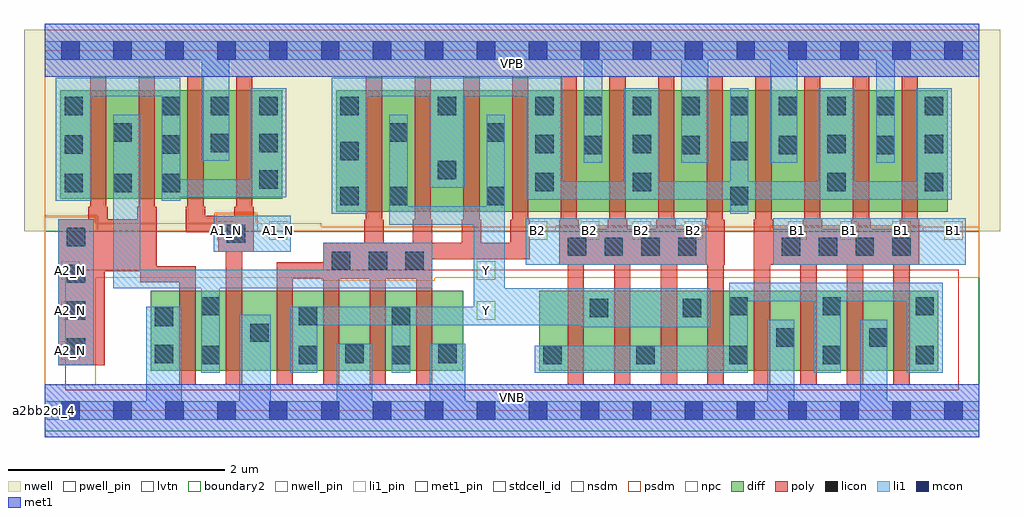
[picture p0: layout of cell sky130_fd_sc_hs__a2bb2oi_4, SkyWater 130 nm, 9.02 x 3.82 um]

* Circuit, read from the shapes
.subckt sky130_fd_sc_hs__a2bb2oi_4 A1_N A2_N B1 B2 VGND VNB VPB VPWR Y
XM1 n1 A2_N VGND VNB sky130_fd_pr__nfet_01v8_lvt w=0.74 l=0.15
XM2 VGND A1_N n1 VNB sky130_fd_pr__nfet_01v8_lvt w=0.74 l=0.15
XM3 Y n1 VGND VNB sky130_fd_pr__nfet_01v8_lvt w=0.74 l=0.15 m=4
XM4 Y B2 n2 VNB sky130_fd_pr__nfet_01v8_lvt w=0.74 l=0.15 m=4
XM5 VGND B1 n2 VNB sky130_fd_pr__nfet_01v8_lvt w=0.74 l=0.15 m=4
XM6 n1 A2_N n3 VPB sky130_fd_pr__pfet_01v8 w=1 l=0.15 m=2
XM7 VPWR A1_N n3 VPB sky130_fd_pr__pfet_01v8 w=1 l=0.15 m=2
XM8 Y n1 n4 VPB sky130_fd_pr__pfet_01v8 w=1.12 l=0.15 m=4
XM9 VPWR B2 n4 VPB sky130_fd_pr__pfet_01v8 w=1.12 l=0.15 m=4
XM10 VPWR B1 n4 VPB sky130_fd_pr__pfet_01v8 w=1.12 l=0.15 m=4
.ends

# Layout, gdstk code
import gdstk
lib = gdstk.Library(unit=1e-6, precision=1e-09)
def R(c, l, rs):  # rectangles x0, y0, x1, y1
    for r in rs: c.add(gdstk.rectangle(r[:2], r[2:], *l))
def A(c, l, x, y, w, h, nx, ny, dx, dy):  # array of equal rectangles
    R(c, l, [(x+i*dx, y+j*dy, x+i*dx+w, y+j*dy+h) for i in range(nx) for j in range(ny)])
def P(c, l, *ps):  # polygons
    for p in ps: c.add(gdstk.Polygon(p, *l))
nwell_pin = (64, 16)
nwell = (64, 20)
diff = (65, 20)
poly = (66, 20)
licon = (66, 44)
li1_pin = (67, 16)
li1 = (67, 20)
mcon = (67, 44)
met1_pin = (68, 16)
met1 = (68, 20)
stdcell_id = (81, 4)
nsdm = (93, 44)
psdm = (94, 20)
npc = (95, 20)
pwell_pin = (122, 16)
lvtn = (125, 44)
boundary2 = (236, 0)

sky130_fd_sc_hs__a2bb2oi = lib.new_cell('sky130_fd_sc_hs__a2bb2oi_4')
R(sky130_fd_sc_hs__a2bb2oi, nwell_pin, [(0,3.085,8.64,3.33)])
R(sky130_fd_sc_hs__a2bb2oi, nwell, [(-0.19,1.66,8.83,3.52)])
R(sky130_fd_sc_hs__a2bb2oi, diff, [(0.98,0.37,3.87,1.11), (4.57,0.37,8.26,1.11), (2.695,1.84,8.345,2.96), (0.145,1.96,2.195,2.96)])
P(sky130_fd_sc_hs__a2bb2oi, poly, [(1.395,1.335),(1.035,1.335),(1.035,1.885),(1.02,1.885),(1.02,3.09),(0.87,3.09),(0.87,1.885),(0.855,1.885),(0.855,1.77),(0.585,1.77),(0.585,1.885),(0.57,1.885),(0.57,3.09),(0.42,3.09),(0.42,1.885),(0.405,1.885),(0.405,1.77),(0.125,1.77),(0.125,0.42),(0.555,0.42),(0.555,1.29),(0.885,1.29),(0.885,1.185),(1.245,1.185),(1.245,0.24),(1.395,0.24)],
  [(1.935,1.885),(1.92,1.885),(1.92,3.09),(1.77,3.09),(1.77,1.885),(1.755,1.885),(1.755,1.8),(1.485,1.8),(1.485,1.885),(1.47,1.885),(1.47,3.09),(1.32,3.09),(1.32,1.885),(1.305,1.885),(1.305,1.65),(1.605,1.65),(1.605,1.47),(1.675,1.47),(1.675,0.24),(1.825,0.24),(1.825,1.47),(1.935,1.47)],
  [(4.485,1.765),(4.47,1.765),(4.47,3.09),(4.32,3.09),(4.32,1.765),(4.305,1.765),(4.305,1.55),(4.035,1.55),(4.035,1.765),(4.02,1.765),(4.02,3.09),(3.87,3.09),(3.87,1.765),(3.855,1.765),(3.855,1.55),(3.585,1.55),(3.585,1.765),(3.57,1.765),(3.57,3.09),(3.42,3.09),(3.42,1.765),(3.405,1.765),(3.405,1.55),(3.135,1.55),(3.135,1.765),(3.12,1.765),(3.12,3.09),(2.97,3.09),(2.97,1.765),(2.955,1.765),(2.955,1.55),(2.575,1.55),(2.575,1.37),(2.145,1.37),(2.145,0.24),(2.295,0.24),(2.295,1.22),(2.575,1.22),(2.575,0.24),(2.725,0.24),(2.725,1.22),(3.005,1.22),(3.005,0.24),(3.155,0.24),(3.155,1.22),(3.435,1.22),(3.435,0.24),(3.585,0.24),(3.585,1.4),(4.485,1.4)],
  [(6.285,1.765),(6.27,1.765),(6.27,3.09),(6.12,3.09),(6.12,1.765),(6.105,1.765),(6.105,1.68),(5.835,1.68),(5.835,1.765),(5.82,1.765),(5.82,3.09),(5.67,3.09),(5.67,1.765),(5.655,1.765),(5.655,1.68),(5.385,1.68),(5.385,1.765),(5.37,1.765),(5.37,3.09),(5.22,3.09),(5.22,1.765),(5.205,1.765),(5.205,1.68),(4.935,1.68),(4.935,1.765),(4.92,1.765),(4.92,3.09),(4.77,3.09),(4.77,1.765),(4.755,1.765),(4.755,1.35),(4.835,1.35),(4.835,0.24),(4.985,0.24),(4.985,1.35),(5.265,1.35),(5.265,0.24),(5.415,0.24),(5.415,1.35),(5.695,1.35),(5.695,0.24),(5.845,0.24),(5.845,1.35),(6.125,1.35),(6.125,0.24),(6.275,0.24),(6.275,1.35),(6.285,1.35)],
  [(8.085,1.765),(8.07,1.765),(8.07,3.09),(7.92,3.09),(7.92,1.765),(7.905,1.765),(7.905,1.68),(7.635,1.68),(7.635,1.765),(7.62,1.765),(7.62,3.09),(7.47,3.09),(7.47,1.765),(7.455,1.765),(7.455,1.68),(7.185,1.68),(7.185,1.765),(7.17,1.765),(7.17,3.09),(7.02,3.09),(7.02,1.765),(7.005,1.765),(7.005,1.68),(6.735,1.68),(6.735,1.765),(6.72,1.765),(6.72,3.09),(6.57,3.09),(6.57,1.765),(6.555,1.765),(6.555,0.24),(6.705,0.24),(6.705,1.35),(6.985,1.35),(6.985,0.24),(7.135,0.24),(7.135,1.35),(7.415,1.35),(7.415,0.24),(7.565,0.24),(7.565,1.35),(7.845,1.35),(7.845,0.24),(7.995,0.24),(7.995,1.35),(8.085,1.35)])
A(sky130_fd_sc_hs__a2bb2oi, licon, 4.61, 0.43, 0.17, 0.17, 5, 1, 0.86, 0)
A(sky130_fd_sc_hs__a2bb2oi, licon, 0.205, 0.5, 0.17, 0.17, 1, 4, 0, 0.34)
A(sky130_fd_sc_hs__a2bb2oi, licon, 6.33, 0.88, 0.17, 0.17, 3, 1, 0.86, 0)
A(sky130_fd_sc_hs__a2bb2oi, licon, 2.655, 1.3, 0.17, 0.17, 3, 1, 0.34, 0)
A(sky130_fd_sc_hs__a2bb2oi, licon, 4.835, 1.43, 0.17, 0.17, 4, 1, 0.34, 0)
A(sky130_fd_sc_hs__a2bb2oi, licon, 6.815, 1.43, 0.17, 0.17, 4, 1, 0.34, 0)
A(sky130_fd_sc_hs__a2bb2oi, licon, 0.185, 2.02, 0.17, 0.17, 3, 1, 0.45, 0)
A(sky130_fd_sc_hs__a2bb2oi, licon, 4.985, 2.37, 0.17, 0.17, 4, 1, 0.9, 0)
A(sky130_fd_sc_hs__a2bb2oi, licon, 1.085, 2.73, 0.17, 0.17, 3, 1, 0.45, 0)
A(sky130_fd_sc_hs__a2bb2oi, licon, 2.735, 2.73, 0.17, 0.17, 3, 1, 0.9, 0)
A(sky130_fd_sc_hs__a2bb2oi, licon, 4.985, 2.73, 0.17, 0.17, 8, 1, 0.45, 0)
R(sky130_fd_sc_hs__a2bb2oi, licon, [(1.45,0.43,1.62,0.6), (2.35,0.43,2.52,0.6), (3.21,0.43,3.38,0.6), (1.02,0.44,1.19,0.61), (2.78,0.44,2.95,0.61), (3.64,0.44,3.81,0.61), (6.76,0.59,6.93,0.76), (7.62,0.59,7.79,0.76), (1.9,0.635,2.07,0.805), (1.02,0.78,1.19,0.95), (2.35,0.79,2.52,0.96), (3.21,0.79,3.38,0.96), (5.04,0.865,5.21,1.035), (5.9,0.865,6.07,1.035), (1.45,0.88,1.62,1.05), (1.685,1.55,1.855,1.72), (2.735,1.9,2.905,2.07), (3.185,1.9,3.355,2.07), (4.085,1.9,4.255,2.07), (6.335,1.9,6.505,2.07), (4.535,2.03,4.705,2.2), (5.435,2.03,5.605,2.2), (7.235,2.03,7.405,2.2), (8.135,2.03,8.305,2.2), (1.985,2.05,2.155,2.22), (3.635,2.14,3.805,2.31), (2.735,2.315,2.905,2.485), (6.335,2.315,6.505,2.485), (0.185,2.375,0.355,2.545), (1.085,2.375,1.255,2.545), (4.535,2.38,4.705,2.55), (5.435,2.38,5.605,2.55), (7.235,2.38,7.405,2.55), (8.135,2.38,8.305,2.55), (1.535,2.39,1.705,2.56), (1.985,2.39,2.155,2.56), (0.635,2.485,0.805,2.655), (3.185,2.485,3.355,2.655), (4.085,2.485,4.255,2.655), (0.185,2.73,0.355,2.9)])
A(sky130_fd_sc_hs__a2bb2oi, li1_pin, 0.155, 0.47, 0.17, 0.17, 1, 3, 0, 0.37)
A(sky130_fd_sc_hs__a2bb2oi, li1_pin, 4.475, 1.58, 0.17, 0.17, 4, 1, 0.48, 0)
A(sky130_fd_sc_hs__a2bb2oi, li1_pin, 6.875, 1.58, 0.17, 0.17, 4, 1, 0.48, 0)
R(sky130_fd_sc_hs__a2bb2oi, li1_pin, [(3.995,0.84,4.165,1.01), (3.995,1.21,4.165,1.38), (1.595,1.58,1.765,1.75), (2.075,1.58,2.245,1.75)])
R(sky130_fd_sc_hs__a2bb2oi, li1, [(0.125,0.42,0.455,1.77), (4.445,1.35,6.115,1.78), (6.735,1.35,8.515,1.78), (1.565,1.47,2.275,1.8)])
P(sky130_fd_sc_hs__a2bb2oi, li1, [(7.685,2.29),(7.685,3.245),(6.955,3.245),(6.955,2.29),(6.705,2.29),(6.705,3.245),(6.135,3.245),(6.135,2.29),(5.885,2.29),(5.885,3.245),(5.155,3.245),(5.155,2.29),(4.985,2.29),(4.985,3.245),(1.705,3.245),(1.705,2.31),(1.455,2.31),(1.455,3.245),(0,3.245),(0,3.415),(8.64,3.415),(8.64,3.245),(7.855,3.245),(7.855,2.29)],
  [(0.94,0.085),(0.94,0.96),(1.27,0.96),(1.27,0.085),(1.8,0.085),(1.8,0.885),(2.09,0.885),(2.09,0.085),(2.7,0.085),(2.7,0.62),(3.03,0.62),(3.03,0.085),(3.56,0.085),(3.56,0.62),(3.89,0.62),(3.89,0.085),(6.68,0.085),(6.68,0.84),(6.93,0.84),(6.93,0.085),(7.54,0.085),(7.54,0.84),(7.79,0.84),(7.79,0.085),(8.64,0.085),(8.64,-0.085),(0,-0.085),(0,0.085)],
  [(3.965,1.72),(3.185,1.72),(3.185,2.735),(3.355,2.735),(3.355,1.89),(4.085,1.89),(4.085,2.735),(4.255,2.735),(4.255,1.13),(6.15,1.13),(6.15,0.77),(4.96,0.77),(4.96,0.79),(3.38,0.79),(3.38,0.35),(3.21,0.35),(3.21,0.79),(2.52,0.79),(2.52,0.35),(2.27,0.35),(2.27,0.96),(3.965,0.96)],
  [(6.33,0.6),(6.33,1.18),(8.3,1.18),(8.3,0.35),(7.97,0.35),(7.97,1.01),(7.36,1.01),(7.36,0.35),(7.11,0.35),(7.11,1.01),(6.5,1.01),(6.5,0.35),(4.53,0.35),(4.53,0.6)],
  [(0.635,2.735),(0.885,2.735),(0.885,1.3),(2.575,1.3),(2.575,1.55),(3.585,1.55),(3.585,1.13),(1.62,1.13),(1.62,0.35),(1.45,0.35),(1.45,1.13),(0.635,1.13)],
  [(3.555,2.06),(3.555,2.905),(2.985,2.905),(2.985,1.82),(2.655,1.82),(2.655,3.075),(4.785,3.075),(4.785,2.12),(5.355,2.12),(5.355,2.98),(5.685,2.98),(5.685,2.12),(6.335,2.12),(6.335,2.98),(6.505,2.98),(6.505,2.12),(7.155,2.12),(7.155,2.98),(7.485,2.98),(7.485,2.12),(8.055,2.12),(8.055,2.98),(8.385,2.98),(8.385,1.95),(6.505,1.95),(6.505,1.82),(6.335,1.82),(6.335,1.95),(4.455,1.95),(4.455,2.905),(3.885,2.905),(3.885,2.06)],
  [(1.905,2.14),(1.905,2.98),(2.235,2.98),(2.235,1.97),(1.255,1.97),(1.255,1.94),(1.085,1.94),(1.085,2.905),(0.435,2.905),(0.435,1.94),(0.105,1.94),(0.105,3.075),(1.255,3.075),(1.255,2.14)])
A(sky130_fd_sc_hs__a2bb2oi, mcon, 0.155, -0.085, 0.17, 0.17, 18, 2, 0.48, 3.33)
R(sky130_fd_sc_hs__a2bb2oi, met1_pin, [(0,0,8.64,0.245), (0,3.085,8.64,3.33)])
R(sky130_fd_sc_hs__a2bb2oi, met1, [(0,-0.245,8.64,0.245), (0,3.085,8.64,3.575)])
R(sky130_fd_sc_hs__a2bb2oi, stdcell_id, [(0,0,8.64,3.33)])
R(sky130_fd_sc_hs__a2bb2oi, nsdm, [(0,-0.19,8.64,1.66)])
P(sky130_fd_sc_hs__a2bb2oi, psdm, [(8.64,3.52),(0,3.52),(0,1.8),(0.485,1.8),(0.485,1.66),(1.575,1.66),(1.575,1.83),(1.965,1.83),(1.965,1.66),(4.725,1.66),(4.725,1.71),(6.135,1.71),(6.135,1.66),(6.705,1.66),(6.705,1.71),(8.115,1.71),(8.115,1.66),(8.64,1.66)])
P(sky130_fd_sc_hs__a2bb2oi, npc, [(8.64,1.7),(2.555,1.7),(2.555,1.73),(1.955,1.73),(1.955,1.82),(1.585,1.82),(1.585,1.73),(0.475,1.73),(0.475,1.79),(0,1.79),(0,0.235),(0.475,0.235),(0.475,1.23),(2.555,1.23),(2.555,1.2),(3.605,1.2),(3.605,1.23),(8.64,1.23)])
R(sky130_fd_sc_hs__a2bb2oi, pwell_pin, [(0,0,8.64,0.245)])
R(sky130_fd_sc_hs__a2bb2oi, lvtn, [(0.19,0.19,8.45,1.3)])
R(sky130_fd_sc_hs__a2bb2oi, boundary2, [(0,0,8.64,3.33)])
sky130_fd_sc_hs__a2bb2oi.add(gdstk.Label('a2bb2oi_4', (0,0), layer=83, texttype=44))
sky130_fd_sc_hs__a2bb2oi.add(gdstk.Label('VNB', (4.32,0.123), layer=64, texttype=59))
sky130_fd_sc_hs__a2bb2oi.add(gdstk.Label('VPB', (4.32,3.208), layer=64, texttype=5))
sky130_fd_sc_hs__a2bb2oi.add(gdstk.Label('VPWR', (4.32,3.208), layer=68, texttype=5))
sky130_fd_sc_hs__a2bb2oi.add(gdstk.Label('VGND', (4.32,0.123), layer=68, texttype=5))
sky130_fd_sc_hs__a2bb2oi.add(gdstk.Label('A2_N', (0.24,0.555), layer=67, texttype=5))
sky130_fd_sc_hs__a2bb2oi.add(gdstk.Label('A2_N', (0.24,0.925), layer=67, texttype=5))
sky130_fd_sc_hs__a2bb2oi.add(gdstk.Label('A2_N', (0.24,1.295), layer=67, texttype=5))
sky130_fd_sc_hs__a2bb2oi.add(gdstk.Label('Y', (4.08,0.925), layer=67, texttype=5))
sky130_fd_sc_hs__a2bb2oi.add(gdstk.Label('Y', (4.08,1.295), layer=67, texttype=5))
sky130_fd_sc_hs__a2bb2oi.add(gdstk.Label('B2', (4.56,1.665), layer=67, texttype=5))
sky130_fd_sc_hs__a2bb2oi.add(gdstk.Label('B2', (5.04,1.665), layer=67, texttype=5))
sky130_fd_sc_hs__a2bb2oi.add(gdstk.Label('B2', (5.52,1.665), layer=67, texttype=5))
sky130_fd_sc_hs__a2bb2oi.add(gdstk.Label('B2', (6,1.665), layer=67, texttype=5))
sky130_fd_sc_hs__a2bb2oi.add(gdstk.Label('B1', (6.96,1.665), layer=67, texttype=5))
sky130_fd_sc_hs__a2bb2oi.add(gdstk.Label('B1', (7.44,1.665), layer=67, texttype=5))
sky130_fd_sc_hs__a2bb2oi.add(gdstk.Label('B1', (7.92,1.665), layer=67, texttype=5))
sky130_fd_sc_hs__a2bb2oi.add(gdstk.Label('B1', (8.4,1.665), layer=67, texttype=5))
sky130_fd_sc_hs__a2bb2oi.add(gdstk.Label('A1_N', (1.68,1.665), layer=67, texttype=5))
sky130_fd_sc_hs__a2bb2oi.add(gdstk.Label('A1_N', (2.16,1.665), layer=67, texttype=5))

lib.write_gds('sky130_fd_sc_hs__a2bb2oi_4.gds')
